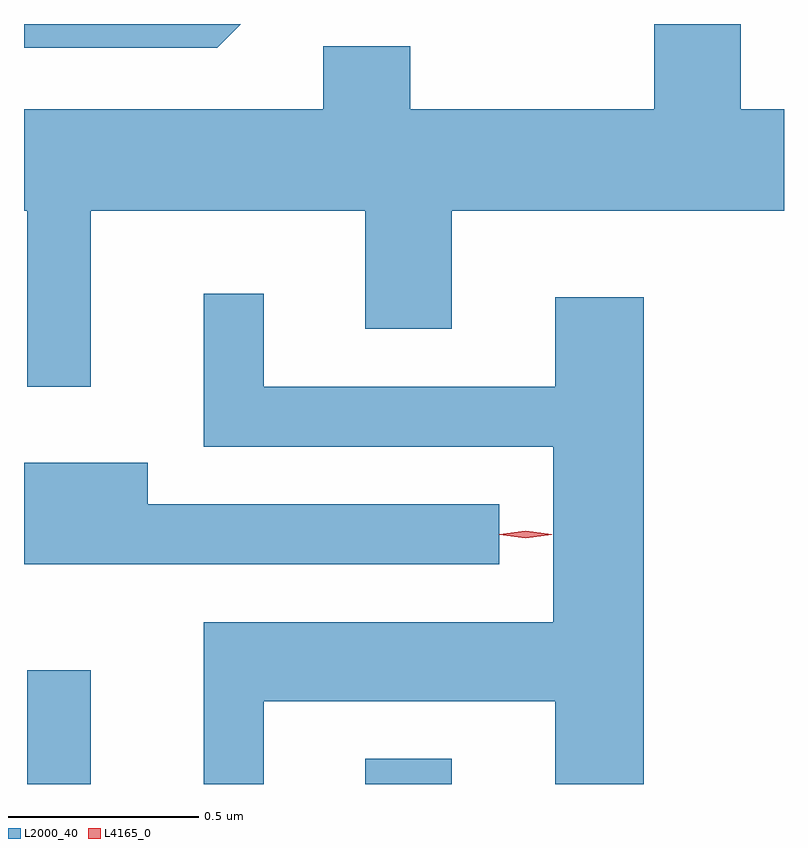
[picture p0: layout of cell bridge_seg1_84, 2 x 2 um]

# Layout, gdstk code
import gdstk
lib = gdstk.Library(unit=1e-6, precision=1e-09)
def R(c, l, rs):  # rectangles x0, y0, x1, y1
    for r in rs: c.add(gdstk.rectangle(r[:2], r[2:], *l))
def P(c, l, *ps):  # polygons
    for p in ps: c.add(gdstk.Polygon(p, *l))
L2000_40 = (2000, 40)
L4165_0 = (4165, 0)

bridge_seg1_84 = lib.new_cell('bridge_seg1_84')
R(bridge_seg1_84, L2000_40, [(1197.331,946.908,1197.499,947.208), (1198.221,946.908,1198.449,946.974)])
P(bridge_seg1_84, L2000_40, [(1197.499,948.416),(1198.221,948.416),(1198.221,948.106),(1198.449,948.106),(1198.449,948.416),(1199.323,948.416),(1199.323,948.684),(1199.209,948.684),(1199.209,948.908),(1198.981,948.908),(1198.981,948.684),(1198.339,948.684),(1198.339,948.849),(1198.111,948.849),(1198.111,948.684),(1197.323,948.684),(1197.323,948.416),(1197.331,948.416),(1197.331,947.953),(1197.499,947.953)],
  [(1197.894,948.908),(1197.323,948.908),(1197.323,948.846),(1197.832,948.846)],
  [(1197.954,947.126),(1198.721,947.126),(1198.721,946.908),(1198.954,946.908),(1198.954,948.189),(1198.721,948.189),(1198.721,947.954),(1197.954,947.954),(1197.954,948.198),(1197.796,948.198),(1197.796,947.796),(1198.716,947.796),(1198.716,947.334),(1197.796,947.334),(1197.796,946.908),(1197.954,946.908)],
  [(1198.573,947.644),(1197.649,947.644),(1197.649,947.754),(1197.323,947.754),(1197.323,947.486),(1198.573,947.486)])
P(bridge_seg1_84, L4165_0, [(1198.643,947.555),(1198.574,947.564),(1198.573,947.565),(1198.574,947.565),(1198.643,947.575),(1198.712,947.565),(1198.712,947.565),(1198.712,947.564)],
  [(1198.644,947.555),(1198.578,947.564),(1198.577,947.565),(1198.578,947.565),(1198.644,947.575),(1198.709,947.565),(1198.71,947.565),(1198.709,947.564)])

lib.write_gds('bridge_seg1_84.gds')
